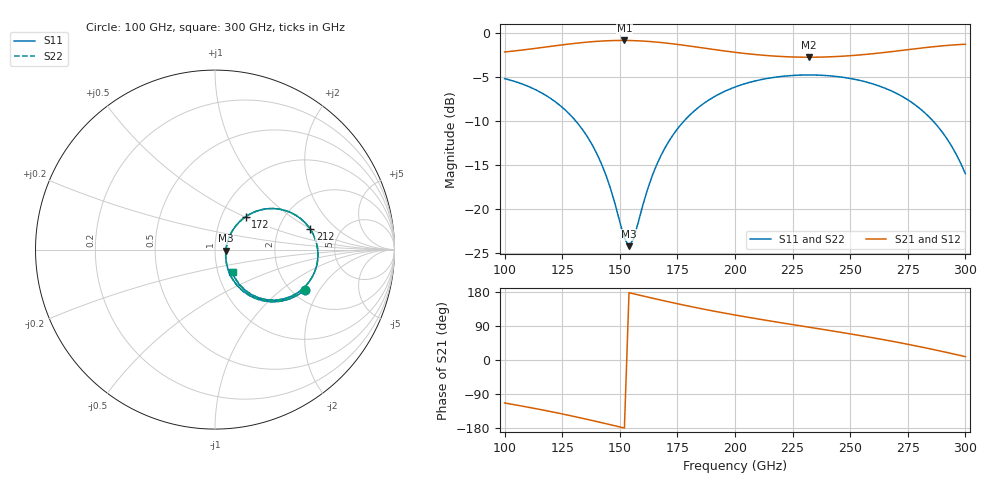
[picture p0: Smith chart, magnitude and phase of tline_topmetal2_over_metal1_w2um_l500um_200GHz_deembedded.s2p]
! Created with skrf 2.2.0 (http://scikit-rf.org).
# GHz S DB R 50.0
! Port[1] = P1
! Port[2] = P2
!freq dBS11 angS11 dBS21 angS21 dBS12 angS12 dBS22 angS22
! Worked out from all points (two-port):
!   101 points, 100 GHz to 300 GHz, reference 50 ohm
!   highest |S21| = -0.88 dB at 152 GHz (marker M1); lowest = -2.8 dB at 232 GHz (marker M2)
!   |S21| within 3 dB of the highest: start of sweep to end of sweep
!   lowest |S11| = -24.3 dB at 154 GHz (marker M3), VSWR 1.13, Z = 56.5 - j0.654 ohm
!   |S11| at or under -10 dB: 130.7 GHz to 178 GHz (47.29 GHz wide, 30.6 % of centre); 285.8 GHz to end of sweep
!   |S22| runs from -24.4 to -4.8 dB; largest |S21 - S12| = 1.4e-13
!   S11 on the Smith chart (normalised r, x): 100 GHz: 2.33, -1.49; 172 GHz: 1.30, +0.51; 212 GHz: 3.03, +0.97; 300 GHz: 1.17, -0.30
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100  -5.22 -24.2  -2.20 -113.5  -2.20 -113.5  -5.22 -24.3
118  -7.14 -41.4  -1.63 -133.7  -1.63 -133.7  -7.14 -41.5
126  -8.71 -49.1  -1.36 -143.6  -1.36 -143.6  -8.72 -49.2
134  -11.08 -55.9  -1.12 -154.2  -1.12 -154.2  -11.09 -56.1
140  -13.74 -59.0  -0.99 -162.4  -0.99 -162.4  -13.74 -59.2
144  -16.21 -58.4  -0.93 -168.1  -0.93 -168.1  -16.22 -58.6
152  -23.39 -27.8  -0.88 -179.5  -0.88 -179.5  -23.46 -28.1
154  -24.27 -5.4  -0.89 177.6  -0.89 177.6  -24.36 -5.5
156  -23.43 17.0  -0.91 174.7  -0.91 174.7  -23.50 17.2
162  -17.85 45.6  -0.99 166.2  -0.99 166.2  -17.87 45.8
168  -13.90 48.7  -1.12 157.9  -1.12 157.9  -13.91 48.8
172  -12.05 47.0  -1.24 152.5  -1.24 152.5  -12.06 47.1
184  -8.53 37.5  -1.66 137.1  -1.66 137.1  -8.53 37.5
200  -6.18 22.7  -2.23 118.8  -2.23 118.8  -6.18 22.8
212  -5.30 12.0  -2.56 106.3  -2.56 106.3  -5.30 12.0
232  -4.81 -5.1  -2.79 86.7  -2.79 86.7  -4.81 -5.1
234  -4.81 -6.8  -2.79 84.7  -2.79 84.7  -4.81 -6.8
250  -5.21 -20.5  -2.62 68.9  -2.62 68.9  -5.21 -20.4
268  -6.64 -36.4  -2.15 49.6  -2.15 49.6  -6.63 -36.3
286  -10.05 -51.6  -1.60 27.7  -1.60 27.7  -10.04 -51.3
294  -12.89 -55.3  -1.41 17.1  -1.41 17.1  -12.86 -54.8
300  -16.03 -52.9  -1.32 8.8  -1.32 8.8  -15.96 -52.2
